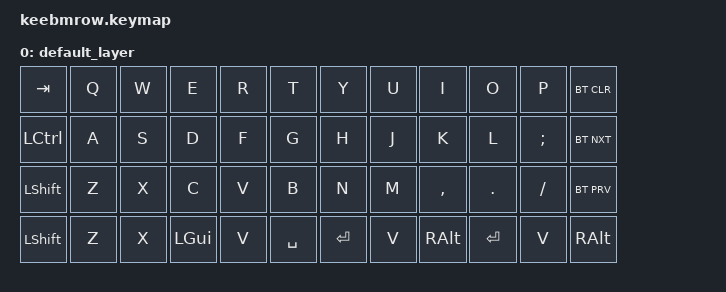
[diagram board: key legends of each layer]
/*
 * Copyright (c) 2020 The ZMK Contributors
 *
 * SPDX-License-Identifier: MIT
 */

#include <behaviors.dtsi>
#include <dt-bindings/zmk/keys.h>
#include <dt-bindings/zmk/bt.h>

/ {
        keymap {
                compatible = "zmk,keymap";
                sensor-bindings = <&inc_dec_kp C_VOL_UP C_VOL_DN>;

                default_layer {
// -----------------------------------------------------------------------------------------
// |  TAB |  Q  |  W  |  E  |  R  |  T  |   |  Y  |  U   |  I  |  O  |  P  | BKSP |
// | CTRL |  A  |  S  |  D  |  F  |  G  |   |  H  |  J   |  K  |  L  |  ;  |  '   |
// | SHFT |  Z  |  X  |  C  |  V  |  B  |   |  N  |  M   |  ,  |  .  |  /  | ESC  |
//                    | GUI | LWR | SPC |   | ENT | RSE  | ALT |
                        bindings = <
   &kp TAB   &kp Q &kp W &kp E    &kp R &kp T       &kp Y   &kp U &kp I     &kp O   &kp P    &bt BT_CLR
   &kp LCTRL &kp A &kp S &kp D    &kp F &kp G       &kp H   &kp J &kp K     &kp L   &kp SEMI &bt BT_NXT
   &kp LSHFT &kp Z &kp X &kp C    &kp V &kp B       &kp N   &kp M &kp COMMA &kp DOT &kp FSLH &bt BT_PRV
   &kp LSHFT &kp Z &kp X &kp LGUI &kp V &kp SPACE   &kp RET &kp V &kp RALT  &kp RET &kp V    &kp RALT
        >;
                };
        };
};
